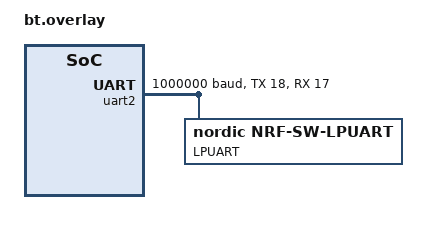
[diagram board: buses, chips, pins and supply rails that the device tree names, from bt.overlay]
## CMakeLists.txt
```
#
# Copyright (c) 2020 Nordic Semiconductor
#
# SPDX-License-Identifier: LicenseRef-Nordic-5-Clause
#

cmake_minimum_required(VERSION 3.20.0)

find_package(Zephyr REQUIRED HINTS $ENV{ZEPHYR_BASE})
project(MOSH)
target_include_directories(app PRIVATE
  ${CMAKE_CURRENT_SOURCE_DIR}/src
  ${CMAKE_CURRENT_SOURCE_DIR}/iperf
  ${CMAKE_CURRENT_SOURCE_DIR}/ping
  ${CMAKE_CURRENT_SOURCE_DIR}/utils)

target_sources(app PRIVATE src/main.c)
target_sources(app PRIVATE src/shell.c)

add_subdirectory(src/print)
add_subdirectory(src/utils)
add_subdirectory(src/uart)
add_subdirectory(src/at)
add_subdirectory_ifdef(CONFIG_MOSH_NRF91_NON_OFFLOADING_DEV src/drivers)
add_subdirectory_ifdef(CONFIG_MOSH_WORKER_THREADS src/th)
add_subdirectory_ifdef(CONFIG_MOSH_SOCK src/sock)
add_subdirectory_ifdef(CONFIG_MOSH_LINK src/link)
add_subdirectory_ifdef(CONFIG_MOSH_PING src/ping)
add_subdirectory_ifdef(CONFIG_MOSH_GNSS src/gnss)
add_subdirectory_ifdef(CONFIG_MOSH_SMS src/sms)
add_subdirectory_ifdef(CONFIG_MOSH_LOCATION src/location)
add_subdirectory_ifdef(CONFIG_MOSH_PPP src/ppp)
add_subdirectory_ifdef(CONFIG_MOSH_FOTA src/fota)
add_subdirectory_ifdef(CONFIG_MOSH_REST src/rest)
add_subdirectory_ifdef(CONFIG_MOSH_STARTUP_CMDS src/startup_cmd)
add_subdirectory(src/cloud)

if(NOT ENV{PROJECT_NAME})
  zephyr_compile_definitions(
    PROJECT_NAME=${CMAKE_PROJECT_NAME}
  )
endif()

if(CONFIG_WIFI_NRF700X)
  set(WIFI_NRF_DRV_BASE ${WEST_TOPDIR}/nrf/drivers/wifi/nrf700x)
endif()
```

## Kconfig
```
#
# Copyright (c) 2020 Nordic Semiconductor ASA
#
# SPDX-License-Identifier: LicenseRef-Nordic-5-Clause
#

source "Kconfig.zephyr"

menu "Nordic Modem Shell config"

config MOSH_IPERF3
	bool "iPerf3"
	default y
	select NRF_IPERF3

config NRF_IPERF3_PROMPTLESS
	bool
	default y

config MOSH_SOCK
	bool "Socket tool"
	default y
	help
	  Socket tool with TCP, UDP, RAW, IPv4, IPv6 and packet socket support.

config MOSH_PING
	bool "ICMP ping"
	default y
	help
	  Ping is a tool for testing the reachability of a host on an IP network.

config MOSH_LINK
	bool "Link control"
	depends on LTE_LINK_CONTROL
	depends on MODEM_INFO
	depends on SETTINGS
	default y
	help
	  Link control changes and queries the state of the LTE connection.

config MOSH_CURL
	bool "cURL"
	default y
	select NRF_CURL

config NRF_CURL_PROMPTLESS
	bool
	default y

config MOSH_GNSS
	bool "GNSS"
	default y
	help
	  GNSS feature for searching the location of the device.

config MOSH_PPP
	bool "PPP"
	help
	  Point-to-Point Protocol for enabling dial-up access to the Internet.

config MOSH_SMS
	bool "SMS"
	default y
	help
	  SMS tool for sending and receiving SMS messages.

config MOSH_LOCATION
	bool "Location"
	default y
	select LOCATION
	help
	  Tool for location queries via location library.

config MOSH_FOTA
	bool "FOTA"
	default y
	help
	  FOTA for performing software updates over-the-air for both modem and application side.

config MOSH_REST
	bool "REST client"
	default y
	select REST_CLIENT
	help
	  REST client for sending and receiving simple REST requests/responses.

config MOSH_CLOUD_REST
	bool "nRFCloud commands over REST"
	default y
	select NRF_CLOUD_REST
	select MODEM_JWT
	select NRF_CLOUD_AGPS_FILTERED if NRF_CLOUD_AGPS && !NRF_CLOUD_MQTT
	select NRF_CLOUD_AGPS_FILTERED_RUNTIME if NRF_CLOUD_AGPS && !NRF_CLOUD_MQTT

config MOSH_CLOUD_MQTT
	bool "MQTT connection to nRFCloud"
	select NRF_CLOUD_MQTT
	select NRF_CLOUD_LOCATION if MULTICELL_LOCATION_SERVICE_NRF_CLOUD
	help
	  MQTT connection to nRFCloud.

config MOSH_CLOUD_LWM2M
	bool "Cloud connection using LwM2M"
	help
	  Cloud connection using LwM2M.

config MOSH_AT_CMD_MODE
	bool "Specific AT command mode"
	default y

config MOSH_PRINT_BUFFER_SIZE
	int "Buffer size used when printing modem shell output"
	default 1024
	help
	  If the printed string exceeds this buffer, an error message is printed first and
	  then the requested string cut into the length of this buffer.

config MOSH_COMMON_WORKQUEUE_STACK_SIZE
	int "Common workqueue stack size"
	default 6144 if MOSH_STARTUP_CMDS && MOSH_CURL
	default 4096

config MOSH_COMMON_WORKQUEUE_PRIORITY
	int "Common workqueue priority"
	default 5

if MOSH_LOCATION
config MOSH_METRICS
	bool "Gather and send metrics to nrf cloud"
	default y
	select LOCATION_DATA_DETAILS
	select LOCATION_METRICS
endif

if MOSH_IPERF3 || MOSH_PING
menu "MoSH iperf3 and ping command selections"

config MOSH_WORKER_THREADS
	bool "Possibility to run iperf3 or ping instances in separate threads"
	default y

config MOSH_STARTUP_CMDS
	bool "Possibility to run stored MoSh commands from settings after bootup"
	default y

config MOSH_NRF91_NON_OFFLOADING_DEV
	bool "Possibility to run iperf3 with Zephyr TCP/IP stack"

endmenu
endif

if MOSH_AT_CMD_MODE
choice
	prompt "Command termination"
	default MOSH_AT_CMD_MODE_CR_LF_TERMINATION
	help
		Sets the command termination ending from the serial terminal
		Levels are:
		-  NULL Termination
		-  CR Termination
		-  LF Termination
		-  CR+LF Termination
	config MOSH_AT_CMD_MODE_NULL_TERMINATION
		bool "NULL Termination"
	config MOSH_AT_CMD_MODE_CR_TERMINATION
		bool "CR Termination"
	config MOSH_AT_CMD_MODE_LF_TERMINATION
		bool "LF Termination"
	config MOSH_AT_CMD_MODE_CR_LF_TERMINATION
		bool "CR+LF Termination"
endchoice
config MOSH_AT_CMD_MODE_TERMINATION
	int
	default 0 if MOSH_AT_CMD_MODE_NULL_TERMINATION
	default 1 if MOSH_AT_CMD_MODE_CR_TERMINATION
	default 2 if MOSH_AT_CMD_MODE_LF_TERMINATION
	default 3 if MOSH_AT_CMD_MODE_CR_LF_TERMINATION
endif

if MOSH_LINK
menu "MoSH link control selections"

config MOSH_LINK_SETT_NORMAL_MODE_AT_CMD_STR_LEN
	int "Link settings AT command length"
	default 127
	help
	  String length for custom AT commands stored into settings to be used
	  when going to normal mode.

endmenu
endif #MOSH_LINK

if MOSH_WORKER_THREADS

config MOSH_WORKER_THREADS_OUTPUT_BUFFER_SIZE
	int "Buffer size for storing output of the background thread commands"
	default 4096

config MOSH_WORKER_THREADS_STACK_SIZE
	int "Worker thread stack size"
	default 4096

endif #MOSH_WORKER_THREADS

if MOSH_CLOUD_LWM2M

config MOSH_LWM2M_PSK
	string "LwM2M pre-shared key for communication"
	default "000102030405060708090a0b0c0d0e0f"
	help
	  Pre-shared key must be identical to the PSK registered with the device on the LwM2M server.
	  Use the hexadecimal representation.

config MOSH_LWM2M_ENDPOINT_PREFIX
	string "Prefix used in the LwM2M endpoint name"
	default "urn:imei:"
	help
	  Sets the prefix of the endpoint name used when connecting to the LwM2M server.

# Make AVSystem the default LwM2M server.
config LWM2M_CLIENT_UTILS_SERVER
	string "LwM2M server address"
	default "coaps://eu.iot.avsystem.cloud:5684"
	help
	  Kconfig redefinition, please see the help text of the original definition.

endif # MOSH_CLOUD_LWM2M

endmenu # Modem Shell
```

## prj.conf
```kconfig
#
# Copyright (c) 2020 Nordic Semiconductor ASA
#
# SPDX-License-Identifier: LicenseRef-Nordic-5-Clause
#
# General config

CONFIG_MOSH_IPERF3=y
CONFIG_MOSH_SOCK=y
CONFIG_MOSH_PING=y
CONFIG_MOSH_CURL=y
CONFIG_MOSH_LINK=y
CONFIG_MOSH_SMS=y
CONFIG_MOSH_GNSS=y
CONFIG_MOSH_LOCATION=y
CONFIG_NET_HOSTNAME_ENABLE=y

# Stacks and heaps
CONFIG_MAIN_STACK_SIZE=4096
CONFIG_HEAP_MEM_POOL_SIZE=8192

# System queue is used e.g. by AT monitor and SMS lib
CONFIG_SYSTEM_WORKQUEUE_STACK_SIZE=2048

# Shell configurations
CONFIG_SHELL=y
CONFIG_SHELL_WILDCARD=n
CONFIG_SHELL_PROMPT_UART="mosh:~$ "
CONFIG_SHELL_ARGC_MAX=40
# Command line buffer is set this large to enable writing of certificates and injecting A-GPS data on command line.
CONFIG_SHELL_CMD_BUFF_SIZE=3584
# Shell stack has impact for modem shell application, not CONFIG_MAIN_STACK_SIZE
CONFIG_SHELL_STACK_SIZE=9216
# Shell RX buffer needs to be increased to avoid problems with test automation
CONFIG_SHELL_BACKEND_SERIAL_RX_RING_BUFFER_SIZE=512
# LTE shell is unnecessary with Modem Shell
CONFIG_LTE_SHELL=n
# Enable use of vsnprintfcb() for extending mosh_print() format
CONFIG_CBPRINTF_LIBC_SUBSTS=y

CONFIG_MINIMAL_LIBC=n
CONFIG_NEWLIB_LIBC=y
CONFIG_NEWLIB_LIBC_FLOAT_SCANF=y
CONFIG_NEWLIB_LIBC_FLOAT_PRINTF=y
CONFIG_FPU=y
CONFIG_CJSON_LIB=y

# Getopt
CONFIG_GETOPT_LIB=y

# Device power management
CONFIG_PM_DEVICE=y

# Modem info
CONFIG_MODEM_INFO=y

# Modem key management
CONFIG_MODEM_KEY_MGMT=y

# Network
CONFIG_NETWORKING=y
CONFIG_NET_NATIVE=n
CONFIG_NET_SOCKETS=y
CONFIG_NET_SOCKETS_OFFLOAD=y
CONFIG_NET_SOCKETS_POSIX_NAMES=n
# Native IPv6 is enabled by default, disable it because we don't need it
CONFIG_NET_IPV6=n

CONFIG_POSIX_API=y
CONFIG_PTHREAD_IPC=n # There are issues with posix api if this is set
CONFIG_POSIX_MAX_FDS=10
# Need to be the same as MAX_FDS
CONFIG_NET_SOCKETS_POLL_MAX=10

# Modem library
CONFIG_NRF_MODEM_LIB=y
CONFIG_NRF_MODEM_LIB_SHMEM_TX_SIZE=22528
CONFIG_NRF_MODEM_LIB_SHMEM_RX_SIZE=8192
CONFIG_NRF_MODEM_LIB_ON_FAULT_APPLICATION_SPECIFIC=y
# Enable modem UART traces
CONFIG_NRF_MODEM_LIB_TRACE=n

# AT monitor library
CONFIG_AT_MONITOR=y

# Increase AT monitor heap because %NCELLMEAS notifications can be long.
# Note: with legacy NCELLMEAS types, 512 is enough, but with GCI search types
# it could be even longer: theoretical maximum of 4020 bytes.
CONFIG_AT_MONITOR_HEAP_SIZE=4096

# PDN library
CONFIG_PDN=y
CONFIG_PDN_ESM_STRERROR=y

# SMS
CONFIG_SMS=y

# LTE link control
CONFIG_LTE_LINK_CONTROL=y
CONFIG_LTE_NETWORK_MODE_LTE_M_GPS=y
CONFIG_LTE_MODE_PREFERENCE_AUTO=y

CONFIG_LTE_AUTO_INIT_AND_CONNECT=n
CONFIG_LTE_NETWORK_USE_FALLBACK=n

#MOSH is having own commands to enable these at runtime:
CONFIG_LTE_LC_MODEM_SLEEP_NOTIFICATIONS=n
CONFIG_LTE_LC_TAU_PRE_WARNING_NOTIFICATIONS=n

#Minimum values for thresholds:
CONFIG_LTE_LC_TAU_PRE_WARNING_THRESHOLD_MS=10240
CONFIG_LTE_LC_MODEM_SLEEP_NOTIFICATIONS_THRESHOLD_MS=10240

# Configurations useful for debugging and development that user can enable when needed
#CONFIG_LTE_LOCK_PLMN=y
#CONFIG_LTE_LOCK_PLMN_STRING="24488"
#CONFIG_LTE_NETWORK_MODE_LTE_M_GPS=y

CONFIG_DATE_TIME=y

# nRF Cloud A-GPS, disable this in case you want to enable SUPL below
CONFIG_NRF_CLOUD_AGPS=y

# SUPL A-GPS support, needs the nRF9160 SiP SUPL client library from nRF9160 DK product page
#CONFIG_SUPL_CLIENT_LIB=y

# Cellular positioning
CONFIG_MULTICELL_LOCATION=y
CONFIG_LTE_NEIGHBOR_CELLS_MAX=17

# Cellular positioning services
CONFIG_MULTICELL_LOCATION_SERVICE_NRF_CLOUD=y

#CONFIG_MULTICELL_LOCATION_SERVICE_HERE=y
#CONFIG_MULTICELL_LOCATION_HERE_API_KEY="api key"

# Library for buttons and LEDs
CONFIG_DK_LIBRARY=y

# FOTA
CONFIG_FLASH=y
CONFIG_REBOOT=y
CONFIG_DFU_TARGET=y
CONFIG_FOTA_DOWNLOAD=y
CONFIG_DOWNLOAD_CLIENT=y
# BOOTLOADER_MCUBOOT reduces usable flash size by half so it's disabled by default
# This means application FOTA is disabled. Modem FOTA works without these.
CONFIG_BOOTLOADER_MCUBOOT=n
CONFIG_IMG_MANAGER=n
CONFIG_IMG_ERASE_PROGRESSIVELY=n

# Debugging configurations
CONFIG_FLASH=y
CONFIG_FLASH_MAP=y
CONFIG_MPU_ALLOW_FLASH_WRITE=y
CONFIG_NVS=y
CONFIG_SETTINGS=y
CONFIG_SETTINGS_NVS=y
CONFIG_NVS_LOG_LEVEL_WRN=y

CONFIG_ASSERT=y
CONFIG_LOG=y
CONFIG_DEBUG_INFO=y
#CONFIG_DEBUG_OPTIMIZATIONS=y
#CONFIG_NO_OPTIMIZATIONS=y
#CONFIG_FORCE_NO_ASSERT=y
CONFIG_ASSERT_VERBOSE=y
#CONFIG_ASSERT_LEVEL=2
#CONFIG_ASSERT_ON_ERRORS=y
#CONFIG_FAULT_DUMP=2
CONFIG_RESET_ON_FATAL_ERROR=n
CONFIG_EXTRA_EXCEPTION_INFO=y
#CONFIG_WATCHDOG=y
```

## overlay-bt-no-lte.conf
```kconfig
CONFIG_MOSH_BT=y
CONFIG_MOSH_IPERF3=n
CONFIG_MOSH_SOCK=n
CONFIG_MOSH_PING=n
CONFIG_MOSH_CURL=n
CONFIG_MOSH_LINK=n
CONFIG_MOSH_SMS=n
CONFIG_MOSH_GNSS=n
CONFIG_MOSH_FOTA=n
CONFIG_MOSH_REST=n
CONFIG_MOSH_LOCATION=n
CONFIG_MOSH_AT_CMD_MODE=n

CONFIG_NRF_MODEM_LIB=n
CONFIG_AT_MONITOR=n
CONFIG_LTE_LINK_CONTROL=n
CONFIG_MODEM_INFO=n
CONFIG_MODEM_KEY_MGMT=n
CONFIG_MODEM_JWT=n
CONFIG_MULTICELL_LOCATION=n
CONFIG_DATE_TIME=n
CONFIG_SMS=n
CONFIG_NRF_CLOUD_REST=n
CONFIG_DFU_TARGET=n
CONFIG_FOTA_DOWNLOAD=n
CONFIG_DOWNLOAD_CLIENT=n

CONFIG_TFM_SECURE_UART1=n
CONFIG_UART_INTERRUPT_DRIVEN=y
CONFIG_NRF_SW_LPUART=y
#CONFIG_NRF_SW_LPUART_INIT_PRIORITY=50
#CONFIG_NRF_SW_LPUART_DEFAULT_TX_TIMEOUT=2000
CONFIG_NRF_SW_LPUART_INT_DRIVEN=y
#CONFIG_NRF_SW_LPUART_LOG_LEVEL_DBG=y
CONFIG_UART_2_ASYNC=y
CONFIG_UART_2_INTERRUPT_DRIVEN=n
CONFIG_UART_2_NRF_HW_ASYNC=y
CONFIG_UART_2_NRF_HW_ASYNC_TIMER=2
#CONFIG_UART_2_GPIO_MANAGEMENT=y

CONFIG_BT=y
CONFIG_BT_COMPANY_ID=0x0059
CONFIG_BT_DEVICE_NAME="mosh"
CONFIG_BT_DEVICE_NAME_DYNAMIC=y

CONFIG_BT_H4=y
CONFIG_BT_HCI=y
CONFIG_BT_HCI_ACL_FLOW_CONTROL=y

CONFIG_BT_BROADCASTER=y
CONFIG_BT_EXT_ADV=n
CONFIG_BT_PER_ADV=n
#CONFIG_BT_RECV_IS_RX_THREAD=n

CONFIG_BT_OBSERVER=y
CONFIG_BT_CENTRAL=y
CONFIG_BT_DEBUG_NONE=y
CONFIG_BT_LOG_LEVEL_OFF=y
#CONFIG_BT_DEBUG_LOG=y
#CONFIG_BT_DEBUG_HCI_CORE=y
#CONFIG_BT_LOG_LEVEL_WRN=y
CONFIG_BT_SHELL=y

# Heap and stacks
CONFIG_SYSTEM_WORKQUEUE_STACK_SIZE=4096
CONFIG_MAIN_STACK_SIZE=8192

# Mitigation for NCSIDB-356
CONFIG_ZERO_LATENCY_IRQS=n

#Mitigation for DRGN-16650: Undefined behavior when extended scanning is enabled
#CONFIG_BT_BUF_ACL_RX_SIZE=251
#CONFIG_BT_BUF_ACL_TX_SIZE=251
CONFIG_BT_BUF_ACL_TX_COUNT=7
CONFIG_BT_BUF_ACL_RX_SIZE=251
CONFIG_BT_BUF_EVT_DISCARDABLE_SIZE=255

#CONFIG_NRF_SW_LPUART_LOG_LEVEL_INF=y
```

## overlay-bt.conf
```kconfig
CONFIG_MOSH_BT=y
CONFIG_PM_DEVICE=n

# Disable Modem traces, since we need UART1 for HCI
CONFIG_NRF_MODEM_LIB_TRACE_ENABLED=n
CONFIG_TFM_SECURE_UART1=n

CONFIG_UART_INTERRUPT_DRIVEN=y
CONFIG_NRF_SW_LPUART=y
#CONFIG_NRF_SW_LPUART_INIT_PRIORITY=50
#CONFIG_NRF_SW_LPUART_DEFAULT_TX_TIMEOUT=2000
CONFIG_NRF_SW_LPUART_INT_DRIVEN=y
#CONFIG_NRF_SW_LPUART_LOG_LEVEL_DBG=y
CONFIG_UART_2_ASYNC=y
CONFIG_UART_2_INTERRUPT_DRIVEN=n
CONFIG_UART_2_NRF_HW_ASYNC=y
CONFIG_UART_2_NRF_HW_ASYNC_TIMER=2
#CONFIG_UART_2_GPIO_MANAGEMENT=y

CONFIG_BT=y
CONFIG_BT_COMPANY_ID=0x0059
CONFIG_BT_DEVICE_NAME="mosh"
#CONFIG_BT_DEVICE_NAME_DYNAMIC=y

CONFIG_BT_H4=y
#Following needs to be disabled with newer than 0.14.0
#CONFIG_BT_WAIT_NOP=n
CONFIG_BT_HCI=y
CONFIG_BT_HCI_ACL_FLOW_CONTROL=y

CONFIG_BT_BROADCASTER=y
#CONFIG_BT_EXT_ADV=y
#CONFIG_BT_PER_ADV=y
#CONFIG_BT_RECV_IS_RX_THREAD=n

CONFIG_BT_OBSERVER=y
#CONFIG_BT=y
#CONFIG_BT_H4=y
#CONFIG_BT_WAIT_NOP=n
#CONFIG_BT_CENTRAL=y
#CONFIG_BT_GATT_CLIENT=y
#CONFIG_BT_GATT_DM=y
#CONFIG_BT_SCAN=y
#CONFIG_BT_SCAN_FILTER_ENABLE=y
#CONFIG_BT_SCAN_UUID_CNT=1
#CONFIG_BT_PERIPHERAL=y
#CONFIG_BT_SETTINGS=n
CONFIG_BT_CENTRAL=y
#CONFIG_BT_GATT_CLIENT=y
#CONFIG_BT_GATT_DM=y
#CONFIG_BT_CENTRAL=y
#CONFIG_BT_GATT_CLIENT=y
#CONFIG_BT_GATT_DM=y
#CONFIG_BT_SCAN=y
#CONFIG_BT_SCAN_FILTER_ENABLE=y
#CONFIG_BT_SCAN_UUID_CNT=1

#CONFIG_BT_SHELL=y

#CONFIG_BT_DEBUG_NONE=y
CONFIG_BT_DEBUG_LOG=y
#CONFIG_BT_DEBUG_HCI_CORE=y
#CONFIG_BT_LOG_LEVEL_WRN=y
CONFIG_BT_SHELL=y

# Heap and stacks
CONFIG_SYSTEM_WORKQUEUE_STACK_SIZE=4096
CONFIG_MAIN_STACK_SIZE=8192

# Mitigation for NCSIDB-356
CONFIG_ZERO_LATENCY_IRQS=n

#Mitigation for DRGN-16650: Undefined behavior when extended scanning is enabled
#CONFIG_BT_BUF_ACL_RX_SIZE=251
#CONFIG_BT_BUF_ACL_TX_SIZE=251
CONFIG_BT_BUF_ACL_TX_COUNT=7
CONFIG_BT_BUF_ACL_RX_SIZE=251
CONFIG_BT_BUF_EVT_DISCARDABLE_SIZE=255

#CONFIG_NRF_SW_LPUART_LOG_LEVEL_INF=y
```

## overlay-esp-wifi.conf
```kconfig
# ESP 8266 WIFI
CONFIG_WIFI=y
CONFIG_WIFI_LOG_LEVEL_DBG=y #optional
CONFIG_WIFI_OFFLOAD=y

CONFIG_NET_IPV4=y # must for ESP8266 to compile
CONFIG_NET_NATIVE=y #must for ESP8266 to compile
CONFIG_NET_SHELL=y
CONFIG_NET_L2_WIFI_SHELL=y

CONFIG_WIFI_ESP_AT=y
CONFIG_WIFI_ESP_AT_SCAN_MAC_ADDRESS=y
CONFIG_WIFI_ESP_AT_SCAN_PASSIVE=n
CONFIG_WIFI_ESP_AT_VERSION_1_7=y
CONFIG_WIFI_ESP_AT_SCAN_RESULT_RSSI_ORDERED=y

CONFIG_LOCATION_METHOD_WIFI=y

CONFIG_LOCATION_METHOD_WIFI_SERVICE_NRF_CLOUD=y

#CONFIG_LOCATION_METHOD_WIFI_SERVICE_HERE=y
#CONFIG_LOCATION_METHOD_WIFI_SERVICE_HERE_API_KEY="Your api key"

#CONFIG_LOCATION_METHOD_WIFI_SERVICE_SKYHOOK=y
#CONFIG_LOCATION_METHOD_WIFI_SERVICE_SKYHOOK_API_KEY="Your api key"
```

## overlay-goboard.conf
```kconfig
/*
 * Copyright (c) 2020 Gerson Fernando Budke <nandojve@gmail.com>
 *
 * SPDX-License-Identifier: Apache-2.0
 */


&uart0 {
	compatible = "nordic,nrf-uarte";
	status = "okay";
	current-speed = <115200>;
	pinctrl-0 = <&uart0_default_alt>;
	pinctrl-1 = <&uart0_sleep_alt>;
	pinctrl-names = "default", "sleep";
};

&pinctrl {
	uart0_default_alt: uart0_default_alt {
		group1 {
			psels = <NRF_PSEL(UART_TX, 0, 15)>,
				<NRF_PSEL(UART_RX, 0, 14)>,
				<NRF_PSEL(UART_RTS, 0, 13)>,
				<NRF_PSEL(UART_CTS, 0, 16)>;
		};
	};

	uart0_sleep_alt: uart0_sleep_alt {
		group1 {
			psels = <NRF_PSEL(UART_TX, 0, 15)>,
				<NRF_PSEL(UART_RX, 0, 14)>,
				<NRF_PSEL(UART_RTS, 0, 13)>,
				<NRF_PSEL(UART_CTS, 0, 16)>;
			low-power-enable;
		};
	};
};
```

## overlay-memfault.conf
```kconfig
#For enabling memfault we need room from flash.
#Thus, we need to disable some of the MoSh features:
CONFIG_MOSH_CURL=n
CONFIG_MOSH_GNSS=n
CONFIG_MOSH_FOTA=n

CONFIG_MEMFAULT=y
CONFIG_MEMFAULT_METRICS=y
CONFIG_MEMFAULT_SHELL=y
CONFIG_MEMFAULT_HTTP_ENABLE=y
CONFIG_MEMFAULT_LOGGING_ENABLE=n
CONFIG_MEMFAULT_USER_CONFIG_ENABLE=y

#CONFIG_MEMFAULT_HTTP_PERIODIC_UPLOAD=y
#CONFIG_MEMFAULT_HTTP_PERIODIC_UPLOAD_INTERVAL_SECS=10

CONFIG_MEMFAULT_NCS_FW_VERSION_PREFIX="mosh-"
CONFIG_MEMFAULT_NCS_PROJECT_KEY="your project key from memfault"
CONFIG_MEMFAULT_NCS_DEVICE_ID_IMEI=y
CONFIG_MEMFAULT_NCS_LTE_METRICS=y
CONFIG_MEMFAULT_NCS_STACK_METRICS=y
#CONFIG_MEMFAULT_NCS_INIT_PRIORITY=99

CONFIG_MEMFAULT_ROOT_CERT_STORAGE_NRF9160_MODEM=y
CONFIG_MODEM_KEY_MGMT=y

# Store coredump to flash
CONFIG_MEMFAULT_NCS_INTERNAL_FLASH_BACKED_COREDUMP=y
CONFIG_MEMFAULT_COREDUMP_COLLECT_BSS_REGIONS=y
```

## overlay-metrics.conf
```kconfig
CONFIG_METRICS=y
CONFIG_METRICS_CLOUD_THINGSPEAK=y
CONFIG_METRICS_CLOUD_THINGSPEAK_WRITE_API_KEY="your api key"

CONFIG_METRICS_LOG_LEVEL_DBG=y
```

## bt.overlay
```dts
/*
 * Copyright (c) 2022 Nordic Semiconductor ASA
 *
 * SPDX-License-Identifier: LicenseRef-Nordic-5-Clause
 */

/* From: ncs/nrf/samples/nrf9160/lte_ble_gateway/boards/thingy91_nrf9160_ns.overlay */

//#include <nrf9160dk_nrf52840_reset_on_if5.dtsi>

/ {
	chosen {
		zephyr,bt-uart=&lpuart;
	};
};

&gpiote {
	interrupts = <49 NRF_DEFAULT_IRQ_PRIORITY>;
};

&uart2 {
	current-speed = <1000000>;
	status = "okay";
	tx-pin = <18>; /* <&interface_to_nrf52840 1 0>; */
	rx-pin = <17>; /* <&interface_to_nrf52840 0 0>; */
	/delete-property/ rts-pin;
	/delete-property/ cts-pin;
	/delete-property/ hw-flow-control;

	lpuart: nrf-sw-lpuart {
		compatible = "nordic,nrf-sw-lpuart";
		status = "okay";
		label = "LPUART";
		req-pin = <21>; /* <&interface_to_nrf52840 3 0>; */
		rdy-pin = <19>; /* <&interface_to_nrf52840 2 0>; */
	};
};
```

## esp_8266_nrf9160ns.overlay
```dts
/*
 * Copyright (c) 2020 Gerson Fernando Budke <nandojve@gmail.com>
 *
 * SPDX-License-Identifier: Apache-2.0
 */

/*&spi3 {
      sdhc0: sdhc@0 {
         compatible = "zephyr,mmc-spi-slot";
         reg = <0>;
         status = "okay";
         label = "SDHC0";
      spi-max-frequency = <24000000>;
     };
};*/

&uart1 {
	status = "okay";
	current-speed = <115200>;
	rts-pin = <0xffffffff>;
	cts-pin = <0xffffffff>;
};

&uart3 {
	status = "okay";
	current-speed = <115200>;
	tx-pin = < 0xe >;
	rx-pin = < 0xf >;
	rts-pin = <0xffffffff>;
	cts-pin = <0xffffffff>;

	esp8266 {
		compatible = "espressif,esp-at";
		label = "esp8266";
		status = "okay";
	};
};
```

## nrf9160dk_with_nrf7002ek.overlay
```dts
/*
 * Copyright (c) 2022 Nordic Semiconductor ASA
 *
 * SPDX-License-Identifier: LicenseRef-Nordic-5-Clause
 */

/* Use high drive mode on SPI pins that handle communication with nRF7002
 * so that SCK frequency > 4 MHz can be used. */
 &spi3_default {
	group1 {
		nordic,drive-mode = <NRF_DRIVE_H0H1>;
	};
};

/* Disabled because of conflicts on P0.00 and P0.01 - Arduino pins D0 and D1
 * (iovdd-ctrl-gpios and bucken-gpios in nrf7002_ek, respectively). */
&uart1 {
	status = "disabled";
};

/* TODO:
/ {
	chosen {
		ncs,location-wifi = &nrf7002_ek;
	};
};
*/
```

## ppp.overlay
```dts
/*
 * Copyright (c) 2021 Nordic Semiconductor ASA
 *
 * SPDX-License-Identifier: LicenseRef-Nordic-5-Clause
 */
&uart0 {
	compatible = "nordic,nrf-uarte";
	status = "okay";
/*         /delete-property/ rx-pull-up; */
	/delete-property/ cts-pull-up;
	hw-flow-control;
};

/* Enable uart1. Note: cannot be used with T-FM.
 * See: https://github.com/zephyrproject-rtos/zephyr/commit/0856e4ba518d32576ed1800a4b70a33617196474
 */
&uart1 {
	status = "okay";
};

/ {
	chosen {
		zephyr,console = &uart1;
		zephyr,shell-uart = &uart1;
	};
};
```

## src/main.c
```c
/*
 * Copyright (c) 2020 Nordic Semiconductor ASA
 *
 * SPDX-License-Identifier: LicenseRef-Nordic-5-Clause
 */

#include <stdio.h>
#include <string.h>

#include <zephyr/kernel.h>
#include <zephyr/init.h>
#include <nrf_modem.h>

#include <sys/types.h>
#include <zephyr/logging/log_ctrl.h>
#include <zephyr/sys/reboot.h>
#include <zephyr/dfu/mcuboot.h>

#include <zephyr/shell/shell.h>
#if defined(CONFIG_SHELL_BACKEND_SERIAL)
#include <zephyr/shell/shell_uart.h>
#else
#include <zephyr/shell/shell_rtt.h>
#endif

#include <modem/nrf_modem_lib.h>
#include <modem/at_monitor.h>
#include <modem/modem_info.h>
#include <modem/lte_lc.h>

#include <net/nrf_cloud_os.h>

#include <dk_buttons_and_leds.h>
#include "uart/uart_shell.h"

#if defined(CONFIG_MOSH_PPP)
#include "ppp_ctrl.h"
#endif

#if defined(CONFIG_MOSH_LINK)
#include "link.h"
#endif

#if defined(CONFIG_MOSH_GNSS)
#include "gnss.h"
#endif

#if defined(CONFIG_MOSH_FOTA)
#include "fota.h"
#endif
#if defined(CONFIG_MOSH_WORKER_THREADS)
#include "th/th_ctrl.h"
#endif
#include "mosh_defines.h"
#include "mosh_print.h"

#if defined(CONFIG_MOSH_LOCATION)
#include "location_shell.h"
#endif

#if defined(CONFIG_MOSH_STARTUP_CMDS)
#include "startup_cmd_ctrl.h"
#endif

#if defined(CONFIG_MOSH_AT_CMD_MODE)
#include "at_cmd_mode.h"
#include "at_cmd_mode_sett.h"
#endif

BUILD_ASSERT(IS_ENABLED(CONFIG_SHELL_BACKEND_SERIAL) || IS_ENABLED(CONFIG_SHELL_BACKEND_RTT),
	     "CONFIG_SHELL_BACKEND_SERIAL or CONFIG_SHELL_BACKEND_RTT shell backend must be "
	     "enabled");

/***** Work queue and work item definitions *****/

#define MOSH_COMMON_WORKQ_PRIORITY CONFIG_MOSH_COMMON_WORKQUEUE_PRIORITY
K_THREAD_STACK_DEFINE(mosh_common_workq_stack, CONFIG_MOSH_COMMON_WORKQUEUE_STACK_SIZE);
struct k_work_q mosh_common_work_q;

/* Global variables */
const struct shell *mosh_shell;
struct k_poll_signal mosh_signal;

char mosh_at_resp_buf[MOSH_AT_CMD_RESPONSE_MAX_LEN];
K_MUTEX_DEFINE(mosh_at_resp_buf_mutex);

K_SEM_DEFINE(mosh_carrier_lib_initialized, 0, 1);

static const char *modem_crash_reason_get(uint32_t reason)
{
	switch (reason) {
	case NRF_MODEM_FAULT_UNDEFINED:
		return "Undefined fault";

	case NRF_MODEM_FAULT_HW_WD_RESET:
		return "HW WD reset";

	case NRF_MODEM_FAULT_HARDFAULT:
		return "Hard fault";

	case NRF_MODEM_FAULT_MEM_MANAGE:
		return "Memory management fault";

	case NRF_MODEM_FAULT_BUS:
		return "Bus fault";

	case NRF_MODEM_FAULT_USAGE:
		return "Usage fault";

	case NRF_MODEM_FAULT_SECURE_RESET:
		return "Secure control reset";

	case NRF_MODEM_FAULT_PANIC_DOUBLE:
		return "Error handler crash";

	case NRF_MODEM_FAULT_PANIC_RESET_LOOP:
		return "Reset loop";

	case NRF_MODEM_FAULT_ASSERT:
		return "Assert";

	case NRF_MODEM_FAULT_PANIC:
		return "Unconditional SW reset";

	case NRF_MODEM_FAULT_FLASH_ERASE:
		return "Flash erase fault";

	case NRF_MODEM_FAULT_FLASH_WRITE:
		return "Flash write fault";

	case NRF_MODEM_FAULT_POFWARN:
		return "Undervoltage fault";

	case NRF_MODEM_FAULT_THWARN:
		return "Overtemperature fault";

	default:
		return "Unknown reason";
	}
}

void nrf_modem_fault_handler(struct nrf_modem_fault_info *fault_info)
{
	printk("Modem crash reason: 0x%x (%s), PC: 0x%x\n",
		fault_info->reason,
		modem_crash_reason_get(fault_info->reason),
		fault_info->program_counter);

#if defined(CONFIG_MOSH_METRICS)
/* TODO: store crash info & last acquired location into settings */
#endif

	__ASSERT(false, "Modem crash detected, halting application execution");
}

NRF_MODEM_LIB_ON_INIT(modem_shell_init_hook, on_modem_lib_init, NULL);

/* Initialized to value different than success (0) */
static int modem_lib_init_result = -1;

static void on_modem_lib_init(int ret, void *ctx)
{
	modem_lib_init_result = ret;
}

static void mosh_print_version_info(void)
{
#if defined(APP_VERSION)
	printk("\nMOSH version:       %s", STRINGIFY(APP_VERSION));
#else
	printk("\nMOSH version:       unknown");
#endif

#if defined(BUILD_ID)
	printk("\nMOSH build id:      v%s", STRINGIFY(BUILD_ID));
#else
	printk("\nMOSH build id:      custom");
#endif

#if defined(BUILD_VARIANT)
#if defined(BRANCH_NAME)
	printk("\nMOSH build variant: %s/%s\n\n", STRINGIFY(BRANCH_NAME), STRINGIFY(BUILD_VARIANT));
#else
	printk("\nMOSH build variant: %s\n\n", STRINGIFY(BUILD_VARIANT));
#endif
#else
	printk("\nMOSH build variant: dev\n\n");
#endif
}

#if defined(CONFIG_DK_LIBRARY)
static void button_handler(uint32_t button_states, uint32_t has_changed)
{
	if (has_changed & button_states & DK_BTN1_MSK) {
		mosh_print("Button 1 pressed - raising a kill signal");
		k_poll_signal_raise(&mosh_signal, MOSH_SIGNAL_KILL);
#if defined(CONFIG_MOSH_WORKER_THREADS)
		th_ctrl_kill_em_all();
#endif
	} else if (has_changed & ~button_states & DK_BTN1_MSK) {
		mosh_print("Button 1 released - resetting a kill signal");
		k_poll_signal_reset(&mosh_signal);
	}

	if (has_changed & button_states & DK_BTN2_MSK) {
		/* printk() used instead of mosh_print() which returns before the printing is
		 * actually finished and UART gets shut down in the meantime causing a jam.
		 */
		printk("\nButton 2 pressed, toggling UART power state\n");
		uart_toggle_power_state();
	}
}
#endif

/***** START OF INTERNAL CHANGE. DO NOT COMMIT TO NCS MASTER. *****/

#if !defined(CONFIG_BOARD_THINGY91_NRF9160_NS)
#include <hal/nrf_gpio.h>
static void modem_trace_enable(void)
{
/* GPIO configurations for trace and debug */
#define CS_PIN_CFG_TRACE_CLK 21 //GPIO_OUT_PIN21_Pos
#define CS_PIN_CFG_TRACE_DATA0 22 //GPIO_OUT_PIN22_Pos
#define CS_PIN_CFG_TRACE_DATA1 23 //GPIO_OUT_PIN23_Pos
#define CS_PIN_CFG_TRACE_DATA2 24 //GPIO_OUT_PIN24_Pos
#define CS_PIN_CFG_TRACE_DATA3 25 //GPIO_OUT_PIN25_Pos

	// Configure outputs.
	// CS_PIN_CFG_TRACE_CLK
	NRF_P0_NS->PIN_CNF[CS_PIN_CFG_TRACE_CLK] =
		(GPIO_PIN_CNF_DRIVE_H0H1 << GPIO_PIN_CNF_DRIVE_Pos) |
		(GPIO_PIN_CNF_INPUT_Disconnect << GPIO_PIN_CNF_INPUT_Pos);

	// CS_PIN_CFG_TRACE_DATA0
	NRF_P0_NS->PIN_CNF[CS_PIN_CFG_TRACE_DATA0] =
		(GPIO_PIN_CNF_DRIVE_H0H1 << GPIO_PIN_CNF_DRIVE_Pos) |
		(GPIO_PIN_CNF_INPUT_Disconnect << GPIO_PIN_CNF_INPUT_Pos);

	// CS_PIN_CFG_TRACE_DATA1
	NRF_P0_NS->PIN_CNF[CS_PIN_CFG_TRACE_DATA1] =
		(GPIO_PIN_CNF_DRIVE_H0H1 << GPIO_PIN_CNF_DRIVE_Pos) |
		(GPIO_PIN_CNF_INPUT_Disconnect << GPIO_PIN_CNF_INPUT_Pos);

	// CS_PIN_CFG_TRACE_DATA2
	NRF_P0_NS->PIN_CNF[CS_PIN_CFG_TRACE_DATA2] =
		(GPIO_PIN_CNF_DRIVE_H0H1 << GPIO_PIN_CNF_DRIVE_Pos) |
		(GPIO_PIN_CNF_INPUT_Disconnect << GPIO_PIN_CNF_INPUT_Pos);

	// CS_PIN_CFG_TRACE_DATA3
	NRF_P0_NS->PIN_CNF[CS_PIN_CFG_TRACE_DATA3] =
		(GPIO_PIN_CNF_DRIVE_H0H1 << GPIO_PIN_CNF_DRIVE_Pos) |
		(GPIO_PIN_CNF_INPUT_Disconnect << GPIO_PIN_CNF_INPUT_Pos);

	NRF_P0_NS->DIR = 0xFFFFFFFF;
}
#endif
/***** END OF INTERNAL CHANGE *****/

void main(void)
{
	int err;
	struct k_work_queue_config cfg = {
		.name = "mosh_common_workq",
	};

	/***** START OF INTERNAL CHANGE */
#if !defined(CONFIG_BOARD_THINGY91_NRF9160_NS)
	modem_trace_enable();
#endif
	/***** END OF INTERNAL CHANGE *****/

#if defined(CONFIG_SHELL_BACKEND_SERIAL)
	mosh_shell = shell_backend_uart_get_ptr();
#else
	mosh_shell = shell_backend_rtt_get_ptr();
#endif

	__ASSERT(mosh_shell != NULL, "Failed to get shell backend");

	mosh_print_version_info();

#if defined(CONFIG_NRF_CLOUD_REST) || defined(CONFIG_NRF_CLOUD_MQTT)
#if defined(CONFIG_MOSH_IPERF3)
	/* Due to iperf3, we cannot let nrf cloud lib to initialize cJSON lib to be
	 * using kernel heap allocations (i.e. k_ prepending functions).
	 * Thus, we use standard c alloc/free, i.e. "system heap".
	 */
	struct nrf_cloud_os_mem_hooks hooks = {
		.malloc_fn = malloc,
		.calloc_fn = calloc,
		.free_fn = free,
	};
#else
	/* else: we default to Kernel heap */
	struct nrf_cloud_os_mem_hooks hooks = {
		.malloc_fn = k_malloc,
		.calloc_fn = k_calloc,
		.free_fn = k_free,
	};
#endif

	nrf_cloud_os_mem_hooks_init(&hooks);
#endif

	k_work_queue_start(
		&mosh_common_work_q,
		mosh_common_workq_stack,
		K_THREAD_STACK_SIZEOF(mosh_common_workq_stack),
		MOSH_COMMON_WORKQ_PRIORITY,
		&cfg);

#if !defined(CONFIG_LWM2M_CARRIER)
	/* Get Modem library initialization return value. */
	err = modem_lib_init_result;
	switch (err) {
	case 0:
		/* Modem library was initialized successfully. */
		break;
	case MODEM_DFU_RESULT_OK:
		printk("Modem firmware update successful!\n");
		printk("Modem will run the new firmware after reboot\n");
		sys_reboot(SYS_REBOOT_WARM);
		return;
	case MODEM_DFU_RESULT_UUID_ERROR:
	case MODEM_DFU_RESULT_AUTH_ERROR:
		printk("Modem firmware update failed!\n");
		printk("Modem will run non-updated firmware on reboot.\n");
		sys_reboot(SYS_REBOOT_WARM);
		return;
	case MODEM_DFU_RESULT_HARDWARE_ERROR:
	case MODEM_DFU_RESULT_INTERNAL_ERROR:
		printk("Modem firmware update failed!\n");
		printk("Fatal error.\n");
		sys_reboot(SYS_REBOOT_WARM);
		return;
	default:
		/* Modem library initialization failed. */
		printk("Could not initialize modemlib.\n");
		printk("Fatal error.\n");
		return;
	}
#else
	/* Wait until the LwM2M carrier library has initialized the modem library. */
	k_sem_take(&mosh_carrier_lib_initialized, K_FOREVER);
#endif
	lte_lc_init();
#if defined(CONFIG_MOSH_PPP)
	ppp_ctrl_init();
#endif
#if defined(CONFIG_MOSH_WORKER_THREADS)
	th_ctrl_init();
#endif
#if defined(CONFIG_MOSH_FOTA)
	err = fota_init();
	if (err) {
		printk("Could not initialize FOTA: %d\n", err);
	}
#endif

#if defined(CONFIG_MOSH_LOCATION)
	/* Location library should be initialized before LTE normal mode */
	location_ctrl_init();
#endif
#if defined(CONFIG_LTE_LINK_CONTROL) && defined(CONFIG_MOSH_LINK)
	link_init();
#endif

#if defined(CONFIG_MODEM_INFO)
	err = modem_info_init();
	if (err) {
		printk("Modem info could not be established: %d\n", err);
		return;
	}
#endif

#if defined(CONFIG_DK_LIBRARY)
	err = dk_buttons_init(button_handler);
	if (err) {
		printk("Failed to initialize DK buttons library, error: %d\n", err);
	}
	err = dk_leds_init();
	if (err) {
		printk("Cannot initialize LEDs (err: %d)\n", err);
	}
#endif
	/* Application started successfully, mark image as OK to prevent
	 * revert at next reboot.
	 */
#if defined(CONFIG_BOOTLOADER_MCUBOOT)
	boot_write_img_confirmed();
#endif
	k_poll_signal_init(&mosh_signal);

#if defined(CONFIG_SHELL_BACKEND_SERIAL)
	/* Resize terminal width and height of the shell to have proper command editing. */
	shell_execute_cmd(mosh_shell, "resize");
#endif

#if defined(CONFIG_MOSH_STARTUP_CMDS)
	startup_cmd_ctrl_init();
#endif

#if defined(CONFIG_MOSH_AT_CMD_MODE)
	at_cmd_mode_sett_init();
	if (at_cmd_mode_sett_is_autostart_enabled()) {
		/* Start directly in AT cmd mode */
		at_cmd_mode_start(mosh_shell);
	}
#endif
}
```

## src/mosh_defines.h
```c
/*
 * Copyright (c) 2020 Nordic Semiconductor ASA
 *
 * SPDX-License-Identifier: LicenseRef-Nordic-5-Clause
 */

#ifndef MOSH_DEFINES_H
#define MOSH_DEFINES_H

#define MOSH_EMPTY_STRING "\0"

#define MOSH_APN_STR_MAX_LEN (64)
#define MOSH_ARG_NOT_SET -6

#define MOSH_STRING_NULL_CHECK(string) \
	((string != NULL) ? string : MOSH_EMPTY_STRING)

#define MOSH_AT_CMD_RESPONSE_MAX_LEN 2701

enum mosh_signals {
	MOSH_SIGNAL_KILL,
};

#define LOCATION_FIX_STATUS_LED        DK_LED1
#define REGISTERED_STATUS_LED          DK_LED3

#endif /* MOSH_DEFINES_H */
```

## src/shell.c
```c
/*
 * Copyright (c) 2020 Nordic Semiconductor ASA
 *
 * SPDX-License-Identifier: LicenseRef-Nordic-5-Clause
 */

#include <stdlib.h>

#include <zephyr/kernel.h>
#include <zephyr/device.h>
#include <zephyr/shell/shell.h>
#include <modem/lte_lc.h>
#include <modem/nrf_modem_lib.h>

#if defined(CONFIG_LWM2M_CARRIER)
#include <lwm2m_carrier.h>
#endif
#if defined(CONFIG_MOSH_PING)
#include "ping/icmp_ping_shell.h"
#endif
#if defined(CONFIG_MOSH_SOCK)
#include "sock/sock_shell.h"
#endif
#if defined(CONFIG_MOSH_IPERF3)
#include <zephyr/posix/sys/select.h>
#include <iperf_api.h>
#endif
#if defined(CONFIG_MOSH_LINK)
#if defined(CONFIG_LWM2M_CARRIER)
#include "link.h"
#include <modem/pdn.h>
#include "link_settings.h"
#endif /* CONFIG_LWM2M_CARRIER */
#include "link_shell.h"
#endif /* CONFIG_MOSH_LINK */
#if defined(CONFIG_MOSH_CURL)
#include <nrf_curl.h>
#endif
#if defined(CONFIG_MOSH_SMS)
#include "sms/sms_shell.h"
#endif
#if defined(CONFIG_MOSH_LOCATION)
#include "location_shell.h"
#endif
#if defined(CONFIG_MOSH_PPP)
#include "ppp/ppp_shell.h"
#endif
#if defined(CONFIG_MOSH_REST)
#include "rest_shell.h"
#endif
#include "uart/uart_shell.h"
#include "mosh_print.h"

extern struct k_sem mosh_carrier_lib_initialized;
extern struct k_poll_signal mosh_signal;

#if defined(CONFIG_LWM2M_CARRIER)
void lwm2m_print_err(const lwm2m_carrier_event_t *evt)
{
	const lwm2m_carrier_event_error_t *err = evt->data.error;

	static const char * const strerr[] = {
		[LWM2M_CARRIER_ERROR_NO_ERROR] =
			"No error",
		[LWM2M_CARRIER_ERROR_BOOTSTRAP] =
			"Bootstrap error",
		[LWM2M_CARRIER_ERROR_LTE_LINK_UP_FAIL] =
			"Failed to connect to the LTE network",
		[LWM2M_CARRIER_ERROR_LTE_LINK_DOWN_FAIL] =
			"Failed to disconnect from the LTE network",
		[LWM2M_CARRIER_ERROR_FOTA_PKG] =
			"Package refused from modem",
		[LWM2M_CARRIER_ERROR_FOTA_PROTO] =
			"Protocol error",
		[LWM2M_CARRIER_ERROR_FOTA_CONN] =
			"Connection to remote server failed",
		[LWM2M_CARRIER_ERROR_FOTA_CONN_LOST] =
			"Connection to remote server lost",
		[LWM2M_CARRIER_ERROR_FOTA_FAIL] =
			"Modem firmware update failed",
		[LWM2M_CARRIER_ERROR_CONFIGURATION] =
			"Illegal object configuration detected",
		[LWM2M_CARRIER_ERROR_INIT] =
			"Initialization failure",
		[LWM2M_CARRIER_ERROR_INTERNAL] =
			"Internal failure",
		[LWM2M_CARRIER_ERROR_RUN] =
			"Configuration failure",
	};

	mosh_error("%s, reason %d\n", strerr[err->type], err->value);
}

void lwm2m_print_deferred(const lwm2m_carrier_event_t *evt)
{
	const lwm2m_carrier_event_deferred_t *def = evt->data.deferred;

	static const char *const strdef[] = {
		[LWM2M_CARRIER_DEFERRED_NO_REASON] =
			"No reason given",
		[LWM2M_CARRIER_DEFERRED_PDN_ACTIVATE] =
			"Failed to activate PDN",
		[LWM2M_CARRIER_DEFERRED_BOOTSTRAP_NO_ROUTE] =
			"No route to bootstrap server",
		[LWM2M_CARRIER_DEFERRED_BOOTSTRAP_CONNECT] =
			"Failed to connect to bootstrap server",
		[LWM2M_CARRIER_DEFERRED_BOOTSTRAP_SEQUENCE] =
			"Bootstrap sequence not completed",
		[LWM2M_CARRIER_DEFERRED_SERVER_NO_ROUTE] =
			"No route to server",
		[LWM2M_CARRIER_DEFERRED_SERVER_CONNECT] =
			"Failed to connect to server",
		[LWM2M_CARRIER_DEFERRED_SERVER_REGISTRATION] =
			"Server registration sequence not completed",
		[LWM2M_CARRIER_DEFERRED_SERVICE_UNAVAILABLE] =
			"Server in maintenance mode",
		[LWM2M_CARRIER_DEFERRED_SIM_MSISDN] =
			"Waiting for SIM MSISDN",
	};

	mosh_error("Reason: %s, timeout: %d seconds\n", strdef[def->reason], def->timeout);
}

int lwm2m_carrier_event_handler(const lwm2m_carrier_event_t *event)
{
	int err = 0;

	switch (event->type) {
	case LWM2M_CARRIER_EVENT_INIT:
		mosh_print("LwM2M carrier event: carrier lib initialized");
		k_sem_give(&mosh_carrier_lib_initialized);
		break;
	case LWM2M_CARRIER_EVENT_LTE_LINK_UP:
		mosh_print("LwM2M carrier event: request LTE Link up");
#if defined(CONFIG_LTE_LINK_CONTROL) && defined(CONFIG_MOSH_LINK)
		link_func_mode_set(LTE_LC_FUNC_MODE_NORMAL,
				   link_sett_is_normal_mode_autoconn_rel14_used());
#else
		err = lte_lc_connect_async(NULL);
#endif
		break;
	case LWM2M_CARRIER_EVENT_LTE_LINK_DOWN:
		mosh_print("LwM2M carrier event: request LTE Link down");
#if defined(CONFIG_LTE_LINK_CONTROL) && defined(CONFIG_MOSH_LINK)
		link_func_mode_set(LTE_LC_FUNC_MODE_OFFLINE, false);
#else
		err = lte_lc_offline(NULL);
#endif
		break;
	case LWM2M_CARRIER_EVENT_LTE_POWER_OFF:
		mosh_print("LwM2M carrier event: request LTE Power off");
#if defined(CONFIG_LTE_LINK_CONTROL) && defined(CONFIG_MOSH_LINK)
		link_func_mode_set(LTE_LC_FUNC_MODE_POWER_OFF, false);
#else
		err = lte_lc_power_off(NULL);
#endif
		break;
	case LWM2M_CARRIER_EVENT_BOOTSTRAPPED:
		mosh_print("LwM2M carrier event: bootstrapped");
		break;
	case LWM2M_CARRIER_EVENT_REGISTERED:
		mosh_print("LwM2M carrier event: registered");
		break;
	case LWM2M_CARRIER_EVENT_DEFERRED:
		mosh_print("LwM2M carrier event: deferred");
		lwm2m_print_deferred(event);
		break;
	case LWM2M_CARRIER_EVENT_FOTA_START:
		mosh_print("LwM2M carrier event: fota start");
		break;
	case LWM2M_CARRIER_EVENT_REBOOT:
		mosh_print("LwM2M carrier event: reboot");
		break;
	case LWM2M_CARRIER_EVENT_ERROR:
		mosh_print("LwM2M carrier event: error");
		lwm2m_print_err(event);
		break;
	}

	return err;
}
#endif

int sleep_shell(const struct shell *shell, size_t argc, char **argv)
{
	if (argc == 2) {
		long sleep_duration = strtol(argv[1], NULL, 10);

		if (sleep_duration > 0) {
			k_sleep(K_SECONDS(sleep_duration));
			return 0;
		}
		mosh_print("sleep: duration must be 1...%ld\n", LONG_MAX);
	} else {
		mosh_print_no_format("Usage: sleep <time in seconds>\n");
	}

	return -EINVAL;
}

#if defined(CONFIG_MOSH_IPERF3)
static int cmd_iperf3(const struct shell *shell, size_t argc, char **argv)
{
	(void)iperf_main(argc, argv, NULL, 0, &mosh_signal);
	return 0;
}
#endif

#if defined(CONFIG_MOSH_CURL)
static int cmd_curl(const struct shell *shell, size_t argc, char **argv)
{
	(void)curl_tool_main(argc, argv, &mosh_signal);
	mosh_print("\nDONE");
	return 0;
}
SHELL_CMD_REGISTER(curl, NULL, "For curl usage, just type \"curl --manual\"", cmd_curl);
#endif

#if defined(CONFIG_MOSH_SOCK)
SHELL_CMD_REGISTER(sock, NULL,
	"Commands for socket operations such as connect and send.",
	sock_shell);
#endif

#if defined(CONFIG_MOSH_PING)
SHELL_CMD_REGISTER(ping, NULL, "For ping usage, just type \"ping\"", icmp_ping_shell);
#endif

#if defined(CONFIG_MOSH_IPERF3)
SHELL_CMD_REGISTER(iperf3, NULL, "For iperf3 usage, just type \"iperf3 --manual\"", cmd_iperf3);
#endif

#if defined(CONFIG_MOSH_SMS)
SHELL_CMD_REGISTER(sms, NULL, "Commands for sending and receiving SMS.", sms_shell);
#endif

#if defined(CONFIG_MOSH_LOCATION)
SHELL_CMD_REGISTER(location, NULL,
	"Commands for using the Location library.",
	location_shell);
#endif

#if defined(CONFIG_MOSH_PPP)
SHELL_CMD_REGISTER(ppp, NULL,
	"Commands for controlling PPP.",
	ppp_shell_cmd);
#endif

#if defined(CONFIG_MOSH_REST)
SHELL_CMD_REGISTER(rest, NULL,
	"REST client.",
	rest_shell);
#endif

SHELL_CMD_REGISTER(sleep, NULL,
	"Sleep for n seconds.",
	sleep_shell);
```
